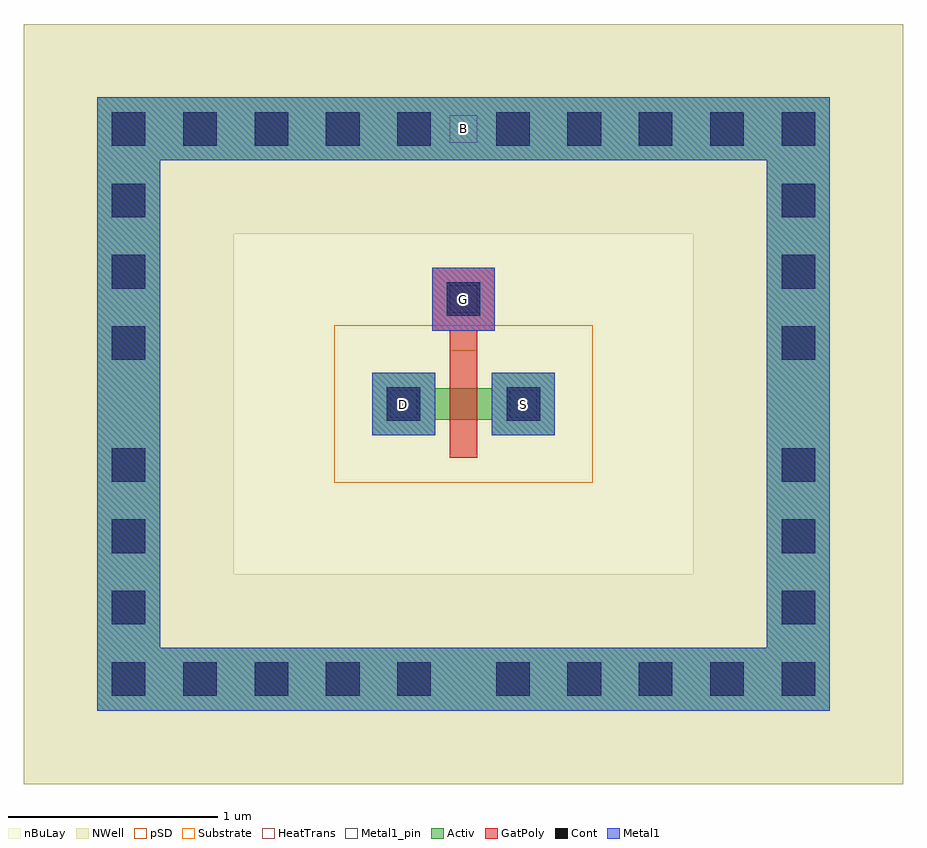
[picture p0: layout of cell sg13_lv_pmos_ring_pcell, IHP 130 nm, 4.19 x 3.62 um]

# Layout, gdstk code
from math import pi, radians
import gdstk
lib = gdstk.Library(unit=1e-6, precision=5e-09)
def R(c, l, rs):  # rectangles x0, y0, x1, y1
    for r in rs: c.add(gdstk.rectangle(r[:2], r[2:], *l))
def A(c, l, x, y, w, h, nx, ny, dx, dy):  # array of equal rectangles
    R(c, l, [(x+i*dx, y+j*dy, x+i*dx+w, y+j*dy+h) for i in range(nx) for j in range(ny)])
def P(c, l, *ps):  # polygons
    for p in ps: c.add(gdstk.Polygon(p, *l))
Activ = (1, 0)
GatPoly = (5, 0)
Cont = (6, 0)
Metal1 = (8, 0)
Metal1_pin = (8, 2)
pSD = (14, 0)
NWell = (31, 0)
nBuLay = (32, 0)
Substrate = (40, 0)
HeatTrans = (51, 0)

pmos = lib.new_cell('pmos')
R(pmos, Activ, [(0,0,0.3,0.3), (0.57,0,0.87,0.3), (0,0.075,0.87,0.225)])
R(pmos, GatPoly, [(0.37,-0.105,0.5,0.405), (0.37,-0.105,0.5,0.405)])
R(pmos, Cont, [(0.07,0.07,0.23,0.23), (0.64,0.07,0.8,0.23)])
R(pmos, Metal1, [(0.07,0.02,0.23,0.28), (0.07,0.02,0.23,0.28), (0.64,0.02,0.8,0.28), (0.64,0.02,0.8,0.28)])
R(pmos, pSD, [(-0.18,-0.225,1.05,0.525)])
R(pmos, NWell, [(-0.31,-0.31,1.18,0.61)])
R(pmos, Substrate, [(0.57,0,0.87,0.3)])
R(pmos, HeatTrans, [(0.37,-0.105,0.5,0.405)])
pmos.add(gdstk.Label('pmos', (0.435,0.15), layer=63, texttype=0))
pmos.add(gdstk.Label('pmos', (0.435,0.15), layer=51, texttype=0))

via = lib.new_cell('Via')
R(via, GatPoly, [(-0.15,-0.15,0.15,0.15)])
R(via, Cont, [(-0.08,-0.08,0.08,0.08)])
R(via, Metal1, [(-0.13,-0.08,0.13,0.08)])

guard_ring = lib.new_cell('guard_ring')
R(guard_ring, Activ, [(-1.745,-1.16,-1.445,1.16), (1.445,-1.16,1.745,1.16), (-1.745,1.16,1.745,1.46)])
P(guard_ring, Activ, [(-1.745,-1.46),(-1.745,1.16),(-1.445,1.16),(-1.445,-1.16),(1.445,-1.16),(1.445,1.16),(-1.745,1.16),(-1.745,1.46),(1.745,1.46),(1.745,-1.46)])
A(guard_ring, Cont, -1.675, -1.39, 0.16, 0.16, 5, 2, 0.34, 2.62)
A(guard_ring, Cont, 0.155, -1.39, 0.16, 0.16, 5, 2, 0.34, 2.62)
A(guard_ring, Cont, -1.675, -1.05, 0.16, 0.16, 1, 3, 0, 0.34)
A(guard_ring, Cont, 1.515, -1.05, 0.16, 0.16, 1, 3, 0, 0.34)
A(guard_ring, Cont, -1.675, 0.21, 0.16, 0.16, 1, 3, 0, 0.34)
A(guard_ring, Cont, 1.515, 0.21, 0.16, 0.16, 1, 3, 0, 0.34)
R(guard_ring, Metal1, [(-1.745,-1.46,1.745,-1.16), (-1.745,-1.16,-1.445,1.16), (1.445,-1.16,1.745,1.16), (-1.745,1.16,1.745,1.46)])
R(guard_ring, NWell, [(-2.095,-1.81,2.095,1.81)])
R(guard_ring, nBuLay, [(-2.095,-0.81,-1.095,0.81), (1.095,-0.81,2.095,0.81), (-2.095,0.81,2.095,1.81)])
P(guard_ring, nBuLay, [(-2.095,-1.81),(-2.095,0.81),(-1.095,0.81),(-1.095,-0.81),(1.095,-0.81),(1.095,0.81),(-2.095,0.81),(-2.095,1.81),(2.095,1.81),(2.095,-1.81)])
guard_ring.add(gdstk.Label('well', (0,-1.31), layer=63, texttype=0))

sg13_lv_pmos_ring_pcell = lib.new_cell('sg13_lv_pmos_ring_pcell')
R(sg13_lv_pmos_ring_pcell, GatPoly, [(0.37,0.405,0.5,0.5)])
R(sg13_lv_pmos_ring_pcell, Metal1, [(0,0,0.3,0.3), (0.57,0,0.87,0.3), (0.285,0.5,0.585,0.8)])
R(sg13_lv_pmos_ring_pcell, Metal1_pin, [(0.085,0.085,0.215,0.215), (0.655,0.085,0.785,0.215), (0.37,0.585,0.5,0.715), (0.37,1.395,0.5,1.525)])
sg13_lv_pmos_ring_pcell.add(gdstk.Reference(pmos, (0,0)))
sg13_lv_pmos_ring_pcell.add(gdstk.Reference(via, (0.435,0.65), rotation=3*pi/2))
sg13_lv_pmos_ring_pcell.add(gdstk.Reference(guard_ring, (0.435,0.15), rotation=pi))
sg13_lv_pmos_ring_pcell.add(gdstk.Label('G', (0.435,0.65), layer=8, texttype=25))
sg13_lv_pmos_ring_pcell.add(gdstk.Label('B', (0.435,1.46), layer=8, texttype=25))
sg13_lv_pmos_ring_pcell.add(gdstk.Label('D', (0.15,0.15), layer=8, texttype=25))
sg13_lv_pmos_ring_pcell.add(gdstk.Label('S', (0.72,0.15), layer=8, texttype=25))

lib.write_gds('sg13_lv_pmos_ring_pcell.gds')
